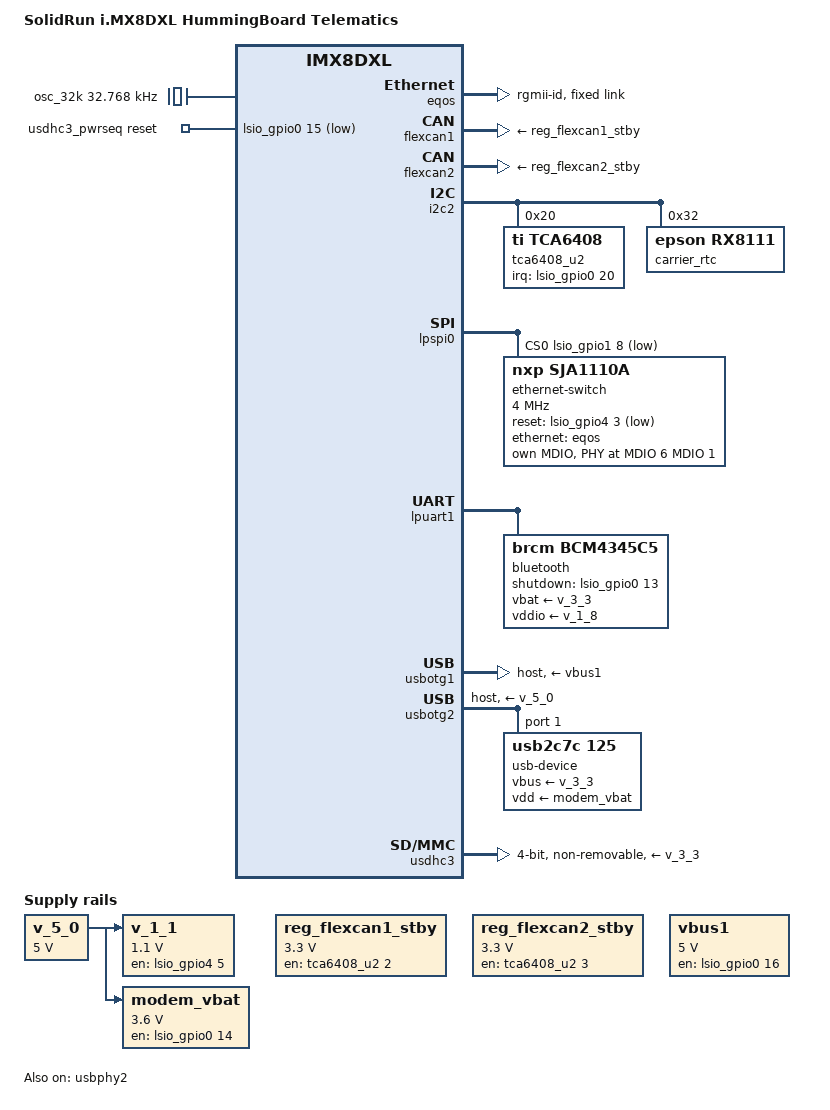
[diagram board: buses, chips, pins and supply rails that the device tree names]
// SPDX-License-Identifier: (GPL-2.0+ OR MIT)
/*
 * Copyright 2022-2026 Josua Mayer <josua@solid-run.com>
 */

/dts-v1/;

#include "imx8dxl-sr-som.dtsi"

/ {
	compatible = "solidrun,imx8dxl-hummingboard-telematics",
		     "solidrun,imx8dxl-sr-som", "fsl,imx8dxl";
	model = "SolidRun i.MX8DXL HummingBoard Telematics";

	aliases {
		/* override ethernet aliases from imx8dxl.dtsi */
		ethernet0 = &eqos;
		ethernet1 = &switch_port1;
		ethernet2 = &switch_port2;
		ethernet3 = &switch_port3;
		ethernet4 = &switch_port4;
		ethernet5 = &switch_port5;
		ethernet6 = &switch_port6;
		ethernet7 = &switch_port7;
		ethernet8 = &switch_port8;
		ethernet9 = &switch_port9;
		ethernet10 = &switch_port10;
		gpio8 = &tca6408_u2;
		mmc2 = &usdhc3;
		rtc0 = &carrier_rtc;
		rtc1 = &rtc;
		serial1 = &lpuart1;
	};

	osc_32k: clock-osc-32k {
		compatible = "fixed-clock";
		clock-frequency = <32768>;
		#clock-cells = <0>;
	};

	v_1_1: regulator-1-1 {
		compatible = "regulator-fixed";
		regulator-name = "1v1";
		pinctrl-0 = <&regulator_1v1_pins>;
		pinctrl-names = "default";
		regulator-always-on;
		regulator-max-microvolt = <1100000>;
		regulator-min-microvolt = <1100000>;
		vin-supply = <&v_5_0>;
		gpio = <&lsio_gpio4 5 GPIO_ACTIVE_HIGH>;
		enable-active-high;
	};

	v_5_0: regulator-5-0 {
		compatible = "regulator-fixed";
		regulator-name = "5v0";
		regulator-max-microvolt = <5000000>;
		regulator-min-microvolt = <5000000>;
	};

	/* can transceiver builtin regulator (STBN1 pin) */
	reg_flexcan1_stby: regulator-flexcan1-standby {
		compatible = "regulator-fixed";
		regulator-name = "flexcan1-standby";
		regulator-max-microvolt = <3300000>;
		regulator-min-microvolt = <3300000>;
		gpio = <&tca6408_u2 2 GPIO_ACTIVE_HIGH>;
		enable-active-high;
	};

	/* can transceiver builtin regulator (STBN2 pin) */
	reg_flexcan2_stby: regulator-flexcan2-standby {
		compatible = "regulator-fixed";
		regulator-name = "flexcan2-standby";
		regulator-max-microvolt = <3300000>;
		regulator-min-microvolt = <3300000>;
		gpio = <&tca6408_u2 3 GPIO_ACTIVE_HIGH>;
		enable-active-high;
	};

	modem_vbat: regulator-modem-vbat {
		compatible = "regulator-fixed";
		regulator-name = "modem-vbat";
		pinctrl-0 = <&regulator_modem_vbat_pins>;
		pinctrl-names = "default";
		regulator-max-microvolt = <3600000>;
		regulator-min-microvolt = <3600000>;
		vin-supply = <&v_5_0>;
		gpio = <&lsio_gpio0 14 GPIO_ACTIVE_HIGH>;
		enable-active-high;
		/*
		 * Cellular Modem uses VBAT, RESET_N and PWRKEY for
		 * power-sequencing. USB core does not currently
		 * support this, keep vbat on permanently and let
		 * userspace deal with reset/pwrkey.
		 */
		regulator-always-on;
		regulator-boot-on;
	};

	vbus1: regulator-vbus-1 {
		compatible = "regulator-fixed";
		regulator-name = "vbus1";
		pinctrl-0 = <&regulator_usb1_vbus_pins>;
		pinctrl-names = "default";
		regulator-max-microvolt = <5000000>;
		regulator-min-microvolt = <5000000>;
		gpio = <&lsio_gpio0 16 GPIO_ACTIVE_HIGH>;
		enable-active-high;
	};

	usdhc3_pwrseq: usdhc3-pwrseq {
		compatible = "mmc-pwrseq-simple";
		reset-gpios = <&lsio_gpio0 15 GPIO_ACTIVE_LOW>;
	};
};

&dma_apbh {
	status = "disabled";
};

&eqos {
	/* delays are added by connected ethernet-switch cpu port */
	phy-mode = "rgmii-id";
	rx-internal-delay-ps = <0>;
	tx-internal-delay-ps = <0>;
	pinctrl-0 = <&eqos_pins>;
	pinctrl-names = "default";
	status = "okay";

	fixed-link {
		full-duplex;
		speed = <1000>;
	};
};

&flexcan1 {
	pinctrl-0 = <&flexcan1_pins>;
	pinctrl-names = "default";
	xceiver-supply = <&reg_flexcan1_stby>;
	status = "okay";

	can-transceiver {
		max-bitrate = <5000000>;
	};
};

&flexcan2 {
	pinctrl-0 = <&flexcan2_pins>;
	pinctrl-names = "default";
	xceiver-supply = <&reg_flexcan2_stby>;
	status = "okay";

	can-transceiver {
		max-bitrate = <5000000>;
	};
};

&i2c2 {
	/* routed to J14: SDA(51), SCL(53) */

	/* regulator@18 */

	tca6408_u2: gpio@20 {
		compatible = "ti,tca6408";
		reg = <0x20>;
		#interrupt-cells = <2>;
		interrupt-controller;
		#gpio-cells = <2>;
		gpio-controller;
		gpio-line-names = "DIG_IN1", "DIG_IN2", "CAN_STNB1", "CAN_STNB2",
				  "DIG_OUT1", "DIG_OUT2", "", "";
		interrupts-extended = <&lsio_gpio0 20 IRQ_TYPE_EDGE_FALLING>;
		pinctrl-0 = <&tca6408_u2_int_pins>;
		pinctrl-names = "default";
	};

	carrier_rtc: rtc@32 {
		compatible = "epson,rx8111";
		reg = <0x32>;
	};
};

&iomuxc {
	bluetooth_pins: pinctrl-bluetooth-grp {
		fsl,pins = <
			/* BT_REG_ON: io without pull (module integrates pd) */
			IMX8DXL_SPI3_SCK_LSIO_GPIO0_IO13			0x0000061
		>;
	};

	eqos_pins: pinctrl-eqos-grp {
		fsl,pins = <
			/* MDIO to Switch */
			/* enet0 mdio pads supplied with 3.3v */
			/* IMX8DXL_COMP_CTL_GPIO_1V8_3V3_GPIOCT */
			IMX8DXL_ENET0_MDC_CONN_EQOS_MDC				0x06000020
			IMX8DXL_ENET0_MDIO_CONN_EQOS_MDIO			0x06000020
			/* RGMII to Switch */
			IMX8DXL_ENET1_RGMII_TX_CTL_CONN_EQOS_RGMII_TX_CTL	0x06000020
			IMX8DXL_ENET1_RGMII_TXC_CONN_EQOS_RGMII_TXC		0x06000020
			IMX8DXL_ENET1_RGMII_TXD0_CONN_EQOS_RGMII_TXD0		0x06000020
			IMX8DXL_ENET1_RGMII_TXD1_CONN_EQOS_RGMII_TXD1		0x06000020
			IMX8DXL_ENET1_RGMII_TXD2_CONN_EQOS_RGMII_TXD2		0x06000020
			IMX8DXL_ENET1_RGMII_TXD3_CONN_EQOS_RGMII_TXD3		0x06000020
			IMX8DXL_ENET1_RGMII_RXC_CONN_EQOS_RGMII_RXC		0x06000020
			IMX8DXL_ENET1_RGMII_RX_CTL_CONN_EQOS_RGMII_RX_CTL	0x06000020
			IMX8DXL_ENET1_RGMII_RXD0_CONN_EQOS_RGMII_RXD0		0x06000020
			IMX8DXL_ENET1_RGMII_RXD1_CONN_EQOS_RGMII_RXD1		0x06000020
			IMX8DXL_ENET1_RGMII_RXD2_CONN_EQOS_RGMII_RXD2		0x06000020
			IMX8DXL_ENET1_RGMII_RXD3_CONN_EQOS_RGMII_RXD3		0x06000020
		>;
	};

	flexcan1_pins: pinctrl-flexcan1-grp {
		fsl,pins = <
			IMX8DXL_FLEXCAN0_TX_ADMA_FLEXCAN0_TX			0x00000021
			IMX8DXL_FLEXCAN0_RX_ADMA_FLEXCAN0_RX			0x00000021
		>;
	};

	flexcan2_pins: pinctrl-flexcan2-grp {
		fsl,pins = <
			IMX8DXL_FLEXCAN1_TX_ADMA_FLEXCAN1_TX			0x00000021
			IMX8DXL_FLEXCAN1_RX_ADMA_FLEXCAN1_RX			0x00000021
		>;
	};

	lpspi0_pins: pinctrl-lpspi0-grp {
		fsl,pins = <
			IMX8DXL_SPI0_SCK_ADMA_SPI0_SCK				0x600004c
			IMX8DXL_SPI0_SDO_ADMA_SPI0_SDO				0x600004c
			IMX8DXL_SPI0_SDI_ADMA_SPI0_SDI				0x600004c
			IMX8DXL_SPI0_CS0_LSIO_GPIO1_IO08			0x0000021
			IMX8DXL_SPI0_CS1_LSIO_GPIO1_IO07			0x0000021
		>;
	};

	lpuart1_pins: pinctrl-lpuart1-grp {
		fsl,pins = <
			IMX8DXL_UART1_RX_ADMA_UART1_RX				0x06000020
			IMX8DXL_UART1_TX_ADMA_UART1_TX				0x06000020
			IMX8DXL_UART1_CTS_B_ADMA_UART1_CTS_B			0x06000020
			IMX8DXL_UART1_RTS_B_ADMA_UART1_RTS_B			0x06000020
		>;
	};

	modem_pins: pinctrl-lte-grp {
		fsl,pins = <
			/* modem RESET_N: io open drain drive 2mA */
			IMX8DXL_ADC_IN3_LSIO_GPIO1_IO11	0x2000061

			/* modem PWRKEY: io open drain with pull-up, drive 2mA */
			IMX8DXL_ADC_IN2_LSIO_GPIO1_IO12	0x2000021
		>;
	};

	regulator_1v1_pins: pinctrl-regulator-1-1-grp {
		fsl,pins = <
			/* SW_PE: io without pull-up */
			IMX8DXL_USB_SS3_TC2_LSIO_GPIO4_IO05			0x0000061
		>;
	};

	regulator_modem_vbat_pins: pinctrl-regulator-modem-vbat-grp {
		fsl,pins = <
			/*
			 * RF_PWR: io without pull-up,
			 * has either external pull-up (R1117) or pull-down (R1118).
			 * With pull-up Modem will boot at system power-up,
			 * with pull-down modem will enter power-down mode once
			 * vbat is enabled -> toggle pwrkey to boot modem.
			 * Hence pull-up (R1117) is preferred.
			 */
			IMX8DXL_SPI3_SDO_LSIO_GPIO0_IO14			0x0000061
		>;
	};

	regulator_usb1_vbus_pins: pinctrl-regulator-usb1-vbus-grp {
		fsl,pins = <
			/* regulator enable: open-drain with pull-up & low drive strength */
			IMX8DXL_SPI3_CS0_LSIO_GPIO0_IO16			0x2000021
		>;
	};

	switch_pins: pinctrl-switch-grp {
		fsl,pins = <
			/* SW_RSTn: io without pull-up */
			IMX8DXL_USB_SS3_TC0_LSIO_GPIO4_IO03			0x0000021

			/* SW_CORE_RSTn: io without pull-up */
			IMX8DXL_USB_SS3_TC1_LSIO_GPIO4_IO04			0x0000021

			/* INT_N: io without pull-up */
			IMX8DXL_USB_SS3_TC3_LSIO_GPIO4_IO06			0x0000021
		>;
	};

	tca6408_u2_int_pins: pinctrl-tca6408-u2-int-grp {
		fsl,pins = <
			/* gpio-expander interrupt: io with pull-up */
			IMX8DXL_MCLK_OUT0_LSIO_GPIO0_IO20			0x0000021
		>;
	};

	usdhc3_pins: pinctrl-usdhc3-grp {
		fsl,pins = <
			IMX8DXL_ENET0_RGMII_TXC_CONN_USDHC2_CLK			0x06000040
			IMX8DXL_ENET0_RGMII_TX_CTL_CONN_USDHC2_CMD		0x00000021
			IMX8DXL_ENET0_RGMII_TXD0_CONN_USDHC2_DATA0		0x00000021
			IMX8DXL_ENET0_RGMII_TXD1_CONN_USDHC2_DATA1		0x00000021
			IMX8DXL_ENET0_RGMII_TXD2_CONN_USDHC2_DATA2		0x00000021
			IMX8DXL_ENET0_RGMII_TXD3_CONN_USDHC2_DATA3		0x00000021
		>;
	};

	wifi_pins: pinctrl-wifi-grp {
		fsl,pins = <
			/* WL_REG_ON: io without pull (module integrates pd) */
			IMX8DXL_SPI3_SDI_LSIO_GPIO0_IO15			0x0000061
		>;
	};
};

&lpspi0 {
	cs-gpios = <&lsio_gpio1 8 GPIO_ACTIVE_LOW>, <&lsio_gpio1 7 GPIO_ACTIVE_LOW>;
	pinctrl-0 = <&lpspi0_pins>, <&switch_pins>;
	pinctrl-names = "default";
	status = "okay";

	ethernet-switch@0 {
		compatible = "nxp,sja1110a";
		reg = <0>;
		reset-gpios = <&lsio_gpio4 3 GPIO_ACTIVE_LOW>;
		spi-max-frequency = <4000000>;

		ethernet-ports {
			#address-cells = <1>;
			#size-cells = <0>;

			/* 100Base-TX on connector J26 */
			switch_port1: port@1 {
				reg = <0x1>;
				phy-handle = <&switch_port1_base_tx_phy>;
				phy-mode = "internal";
			};

			/* CPU */
			switch_port2: port@2 {
				reg = <0x2>;
				ethernet = <&eqos>;
				phy-mode = "rgmii-id";
				rx-internal-delay-ps = <2000>;
				tx-internal-delay-ps = <2000>;

				fixed-link {
					full-duplex;
					speed = <1000>;
				};
			};

			/* sgmii on addon board connector J21 */
			switch_port3: port@3 {
				reg = <0x3>;
				status = "disabled";
			};

			/* sgmii on addon board connector J21 */
			switch_port4: port@4 {
				reg = <0x4>;
				status = "disabled";
			};

			/* 100base-t1 on addon board connector J21 */
			switch_port5: port@5 {
				reg = <0x5>;
				phy-handle = <&switch_port5_base_t1_phy>;
				phy-mode = "internal";
				status = "disabled";
			};

			/* 100base-t1 on addon board connector J21 */
			switch_port6: port@6 {
				reg = <0x6>;
				phy-handle = <&switch_port6_base_t1_phy>;
				phy-mode = "internal";
				status = "disabled";
			};

			/* 100base-t1 on addon board connector J21 */
			switch_port7: port@7 {
				reg = <0x7>;
				phy-handle = <&switch_port7_base_t1_phy>;
				phy-mode = "internal";
				status = "disabled";
			};

			/* 100base-t1 on addon board connector J21 */
			switch_port8: port@8 {
				reg = <0x8>;
				phy-handle = <&switch_port8_base_t1_phy>;
				phy-mode = "internal";
				status = "disabled";
			};

			/* 100base-t1 on addon board connector J21 */
			switch_port9: port@9 {
				reg = <0x9>;
				phy-handle = <&switch_port9_base_t1_phy>;
				phy-mode = "internal";
				status = "disabled";
			};

			/* 100Base-T1 on connector J26 */
			switch_port10: port@a {
				reg = <0xa>;
				phy-handle = <&switch_port10_base_t1_phy>;
				phy-mode = "internal";
			};
		};

		mdios {
			#address-cells = <1>;
			#size-cells = <0>;

			mdio@0 {
				compatible = "nxp,sja1110-base-t1-mdio";
				reg = <0>;
				#address-cells = <1>;
				#size-cells = <0>;

				/* 100base-t1 on addon board connector J21 */
				switch_port5_base_t1_phy: ethernet-phy@1 {
					compatible = "ethernet-phy-ieee802.3-c45";
					reg = <0x1>;
					status = "disabled";
				};

				/* 100base-t1 on addon board connector J21 */
				switch_port6_base_t1_phy: ethernet-phy@2 {
					compatible = "ethernet-phy-ieee802.3-c45";
					reg = <0x2>;
					status = "disabled";
				};

				/* 100base-t1 on addon board connector J21 */
				switch_port7_base_t1_phy: ethernet-phy@3 {
					compatible = "ethernet-phy-ieee802.3-c45";
					reg = <0x3>;
					status = "disabled";
				};

				/* 100base-t1 on addon board connector J21 */
				switch_port8_base_t1_phy: ethernet-phy@4 {
					compatible = "ethernet-phy-ieee802.3-c45";
					reg = <0x4>;
					status = "disabled";
				};

				/* 100base-t1 on addon board connector J21 */
				switch_port9_base_t1_phy: ethernet-phy@5 {
					compatible = "ethernet-phy-ieee802.3-c45";
					reg = <0x5>;
					status = "disabled";
				};

				/* 100Base-T1 on connector J26 */
				switch_port10_base_t1_phy: ethernet-phy@6 {
					compatible = "ethernet-phy-ieee802.3-c45";
					reg = <0x6>;
				};
			};

			mdio@1 {
				compatible = "nxp,sja1110-base-tx-mdio";
				reg = <1>;
				#address-cells = <1>;
				#size-cells = <0>;

				/* 100Base-TX on connector J26 */
				switch_port1_base_tx_phy: ethernet-phy@1 {
					reg = <0x1>;
				};
			};
		};
	};
};

/* bluetooth */
&lpuart1 {
	pinctrl-0 = <&lpuart1_pins>, <&bluetooth_pins>;
	pinctrl-names = "default";
	uart-has-rtscts;
	status = "okay";

	bluetooth {
		compatible = "brcm,bcm4345c5";
		clocks = <&osc_32k>;
		clock-names = "lpo";
		/* Murata 1MW module supports max. 3M baud */
		max-speed = <3000000>;
		shutdown-gpios = <&lsio_gpio0 13 GPIO_ACTIVE_HIGH>;
		/* link fixed supplies to avoid fall-back lookup by name */
		vbat-supply = <&v_3_3>;
		vddio-supply = <&v_1_8>;
	};
};

&lsio_gpio1 {
	gpio-line-names = "", "", "", "", "", "", "", "",
			  "", "", "", "CELL_RESET_N", "CELL_PWRKEY", "", "", "",
			  "", "", "", "", "", "", "", "",
			  "", "", "", "", "", "", "", "";
};

&usbotg1 {
	dr_mode = "host";
	vbus-supply = <&vbus1>;
};

/* cellular modem */
&usbotg2 {
	#address-cells = <1>;
	#size-cells = <0>;
	adp-disable;
	disable-over-current;
	dr_mode = "host";
	hnp-disable;
	pinctrl-0 = <&modem_pins>;
	pinctrl-names = "default";
	power-active-high;
	srp-disable;
	vbus-supply = <&v_5_0>;
	status = "okay";

	usb-device@1 {
		compatible = "usb2c7c,125";
		reg = <1>;
		vbus-supply = <&v_3_3>;
		vdd-supply = <&modem_vbat>;
	};
};

&usbphy2 {
	status = "okay";
};

/* WiFi */
&usdhc3 {
	bus-width = <4>;
	cap-sdio-irq;
	mmc-pwrseq = <&usdhc3_pwrseq>;
	non-removable;
	no-sd;
	pinctrl-0 = <&usdhc3_pins>, <&wifi_pins>;
	pinctrl-names = "default";
	vmmc-supply = <&v_3_3>;
	vqmmc-supply = <&v_1_8>;
	status = "okay";
};
